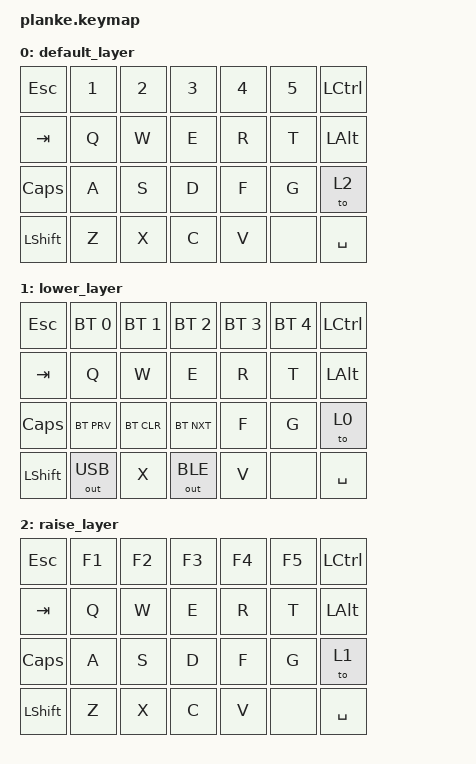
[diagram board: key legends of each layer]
#include <behaviors.dtsi>
#include <dt-bindings/zmk/keys.h>
#include <dt-bindings/zmk/bt.h>
#include <dt-bindings/zmk/outputs.h>
#include <dt-bindings/led/led.h>

#define DEFAULT 0
#define LOWER  1
#define RAISE  2

&lt {
    tapping-term-ms = <1000>;
};

/ {
    chosen {
        zmk,underglow = &led_strip;
    };
};

 / {
    keymap {
        compatible = "zmk,keymap";

        default_layer {
            bindings = <&kp ESC    &kp N1  &kp N2  &kp N3  &kp N4  &kp N5  &kp LCTRL
                        &kp TAB    &kp Q   &kp W   &kp E   &kp R   &kp T   &kp LALT
                        &kp CAPS   &kp A   &kp S   &kp D   &kp F   &kp G   &to 2
                        &kp LSHFT  &kp Z   &kp X   &kp C   &kp V   &none   &kp SPACE
            >; 
            };
        lower_layer {
            bindings = <&kp ESC    &bt BT_SEL 0  &bt BT_SEL 1  &bt BT_SEL 2  &bt BT_SEL 3  &bt BT_SEL 4  &kp LCTRL
                        &kp TAB    &kp Q         &kp W         &kp E         &kp R         &kp T         &kp LALT
                        &kp CAPS   &bt BT_PRV    &bt BT_CLR    &bt BT_NXT    &kp F         &kp G         &to 0
                        &kp LSHFT  &out OUT_USB  &kp X         &out OUT_BLE  &kp V         &none         &kp SPACE
            >;
            };
        raise_layer {
            bindings = <&kp ESC    &kp F1  &kp F2  &kp F3  &kp F4  &kp F5  &kp LCTRL
                        &kp TAB    &kp Q   &kp W   &kp E   &kp R   &kp T   &kp LALT
                        &kp CAPS   &kp A   &kp S   &kp D   &kp F   &kp G   &to 1
                        &kp LSHFT  &kp Z   &kp X   &kp C   &kp V   &none   &kp SPACE
            >; 
        };
    };
};

&pinctrl {
    spi3_default: spi3_default {
        group1 {
            psels = <NRF_PSEL(SPIM_MOSI, 0, 5)>;
        };
    };

    spi3_sleep: spi3_sleep {
        group1 {
            psels = <NRF_PSEL(SPIM_MOSI, 0, 5)>;
            low-power-enable;
        };
    };
};

&spi3 {
    compatible = "nordic,nrf-spim";
    status = "okay";

    pinctrl-0 = <&spi3_default>;
    pinctrl-1 = <&spi3_sleep>;
    pinctrl-names = "default", "sleep";

    led_strip: ws2812@0 {
        compatible = "worldsemi,ws2812-spi";

        /* SPI */
        reg = <0>; /* ignored, but necessary for SPI bindings */
        spi-max-frequency = <4000000>;

        /* WS2812 */
        chain-length = <26>; /* number of LEDs */
        spi-one-frame = <0x70>;
        spi-zero-frame = <0x40>;
        color-mapping = <LED_COLOR_ID_GREEN
                         LED_COLOR_ID_RED
                         LED_COLOR_ID_BLUE>;
    };
};
